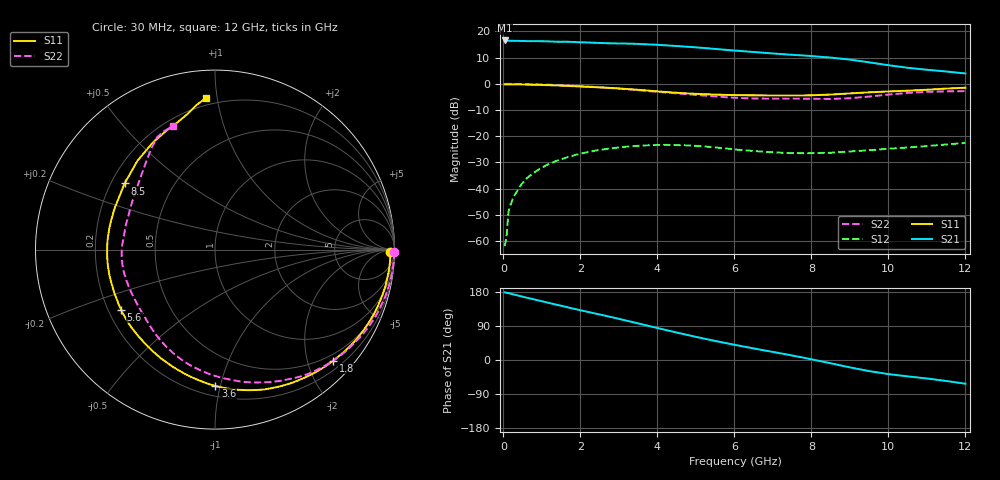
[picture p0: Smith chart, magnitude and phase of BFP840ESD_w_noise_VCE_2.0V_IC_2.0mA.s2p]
! Infineon Technologies  Discrete & RF Semiconductors
! BFP840ESD
! VCE =  2.0 V,  IC =  2.0 mA
! Common Emitter S-Parameters:  May 2012
# GHz  S  MA  R  50
!  f  S11  S21  S12  S22
! GHz  MAG  ANG  MAG  ANG  MAG  ANG  MAG  ANG
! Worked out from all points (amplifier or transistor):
!   93 points, 30 MHz to 12 GHz, reference 50 ohm
!   highest |S21| = 16.6 dB at 30 MHz (marker M1)
!   |S21| within 3 dB of that: start of sweep to 5.313 GHz
!   unconditionally stable (mu >= 1): 6.896 GHz to 10.65 GHz
!   at 1.1 GHz: K = 0.12, MSG = 23.7 dB, |S12| = -31.2 dB
!   at 4.2 GHz: K = 0.38, MSG = 19.0 dB, |S12| = -23.3 dB
!   at 12 GHz: K = 0.62, MSG = 13.2 dB, |S12| = -22.5 dB
!   lowest NFmin = 0.41 dB at 450 MHz
!   S11 on the Smith chart (normalised r, x): 30 MHz: 68, -36; 1.8 GHz: 0.37, -2.48; 3.6 GHz: 0.27, -0.97; 5.6 GHz: 0.25, -0.28; 8.5 GHz: 0.25, +0.31; 12 GHz: 0.16, +0.93
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0.03  0.9772 -0.7  6.725 178.5  0.0008 53.8  0.9992 -0.7
0.08  0.9775 -1.9  6.622 177.4  0.0012 115.9  0.9996 -1.6
0.13  0.9774 -3.1  6.661 176.5  0.0036 85.3  0.9982 -2.8
0.43  0.9722 -10.2  6.569 168.8  0.0111 81.2  0.9932 -9.3
1  0.9516 -23.8  6.498 155.0  0.0253 68.5  0.9709 -21.6
1.8  0.904 -43.2  6.301 135.9  0.0426 53.0  0.9195 -38.9
2.1  0.8842 -50.4  6.18 129.1  0.0482 47.3  0.8953 -45.4
2.4  0.8632 -57.8  6.065 122.3  0.0533 41.1  0.8711 -51.9
3.1  0.8068 -76.1  5.899 106.1  0.062 28.5  0.7982 -67.6
3.6  0.7597 -89.8  5.722 94.2  0.0664 19.7  0.7449 -79.8
4.1  0.7096 -104.4  5.49 82.0  0.0683 11.1  0.6947 -92.4
4.5  0.6767 -116.4  5.261 72.5  0.068 4.4  0.658 -102.3
4.9  0.6493 -128.3  5.037 63.3  0.0661 -1.4  0.6227 -111.8
5.6  0.6214 -147.4  4.571 48.2  0.0602 -9.0  0.5684 -127.2
6.1  0.6074 -159.5  4.269 38.2  0.0552 -11.4  0.5389 -138.2
6.7  0.6028 -173.4  3.948 26.7  0.051 -11.8  0.5243 -152.1
7.5  0.6007 168.9  3.586 11.8  0.0477 -8.6  0.5231 -170.1
8.5  0.6241 143.8  3.17 -8.6  0.0484 -3.1  0.5149 165.2
9  0.6567 131.2  2.9 -19.5  0.0513 -1.5  0.5315 150.7
9.5  0.6891 120.4  2.572 -29.3  0.054 -1.0  0.571 137.4
10.5  0.7403 106.2  2.024 -43.2  0.061 -1.9  0.6703 121.6
12  0.8447 93.5  1.578 -62.6  0.0747 -6.1  0.7261 108.6
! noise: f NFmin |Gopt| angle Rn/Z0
0.45  0.41  0.76  3  0.37
0.9  0.41  0.76  9  0.33
1.5  0.48  0.75  21  0.28
1.9  0.54  0.74  24  0.26
2.4  0.6  0.68  35  0.23
3.5  0.67  0.55  60  0.18
5.5  0.89  0.38  116  0.13
8  1.18  0.5  -152  0.06
10  1.44  0.57  -112  0.17
12  1.75  0.61  -87  0.3
